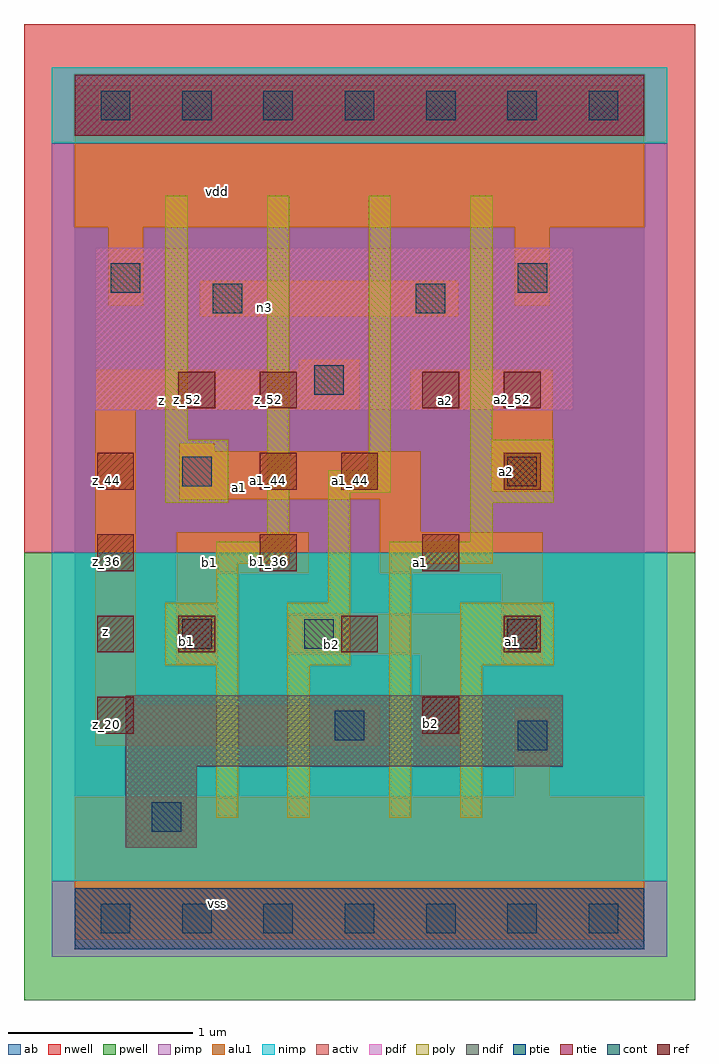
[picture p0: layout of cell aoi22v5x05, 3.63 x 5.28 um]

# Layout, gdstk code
import gdstk
lib = gdstk.Library(unit=1e-6, precision=2.5e-09)
def R(c, l, rs):  # rectangles x0, y0, x1, y1
    for r in rs: c.add(gdstk.rectangle(r[:2], r[2:], *l))
def A(c, l, x, y, w, h, nx, ny, dx, dy):  # array of equal rectangles
    R(c, l, [(x+i*dx, y+j*dy, x+i*dx+w, y+j*dy+h) for i in range(nx) for j in range(ny)])
ndif = (3, 0)
pdif = (4, 0)
ntie = (5, 0)
ptie = (6, 0)
ref = (24, 0)
cont = (25, 0)
pwell = (41, 0)
nwell = (42, 0)
activ = (43, 0)
pimp = (44, 0)
nimp = (45, 0)
poly = (46, 0)
alu1 = (49, 0)
ab = (63, 0)

aoi22v5x05 = lib.new_cell('aoi22v5x05')
R(aoi22v5x05, ndif, [(0.275,0.385,0.66,0.825), (0.275,0.825,2.64,1.21)])
R(aoi22v5x05, pdif, [(0.11,2.75,2.695,3.63)])
R(aoi22v5x05, ntie, [(0,4.235,3.08,4.565)])
R(aoi22v5x05, ptie, [(0,-0.165,3.08,0.165)])
A(aoi22v5x05, ref, 0.56, 1.44, 0.2, 0.2, 3, 1, 0.88, 0)
A(aoi22v5x05, ref, 0.12, 1.88, 0.2, 0.2, 3, 1, 0.88, 0)
R(aoi22v5x05, ref, [(0.12,1,0.32,1.2), (1.88,1,2.08,1.2), (0.12,1.44,0.32,1.64), (0.12,2.32,0.32,2.52), (1,2.32,1.2,2.52), (1.44,2.32,1.64,2.52), (2.32,2.32,2.52,2.52), (0.56,2.76,0.76,2.96), (1,2.76,1.2,2.96), (1.88,2.76,2.08,2.96), (2.32,2.76,2.52,2.96)])
A(aoi22v5x05, cont, 0.14, -0.08, 0.16, 0.16, 7, 2, 0.44, 4.4)
R(aoi22v5x05, cont, [(0.415,0.47,0.575,0.63), (2.395,0.91,2.555,1.07), (1.405,0.965,1.565,1.125), (0.58,1.46,0.74,1.62), (1.24,1.46,1.4,1.62), (2.34,1.46,2.5,1.62), (0.58,2.34,0.74,2.5), (2.34,2.34,2.5,2.5), (1.295,2.835,1.455,2.995), (0.745,3.275,0.905,3.435), (1.845,3.275,2.005,3.435), (0.195,3.385,0.355,3.545), (2.395,3.385,2.555,3.545)])
R(aoi22v5x05, pwell, [(-0.275,-0.44,3.355,1.98)])
R(aoi22v5x05, nwell, [(-0.275,1.98,3.355,4.84)])
R(aoi22v5x05, activ, [(0,-0.165,3.08,0.165), (0.275,0.385,0.66,0.825), (0.275,0.825,2.64,1.21), (0.11,2.75,2.695,3.63), (0,4.235,3.08,4.565)])
R(aoi22v5x05, pimp, [(-0.125,-0.205,3.205,0.205), (-0.125,1.98,3.205,4.195)])
R(aoi22v5x05, nimp, [(-0.125,0.205,3.205,1.98), (-0.125,4.195,3.205,4.605)])
R(aoi22v5x05, poly, [(0.765,0.545,0.885,1.37), (1.15,0.545,1.27,1.37), (1.7,0.545,1.82,1.92), (2.085,0.545,2.205,1.37), (0.49,1.37,0.885,1.71), (1.15,1.37,1.49,1.71), (2.085,1.37,2.59,1.71), (0.765,1.71,0.885,1.92), (1.37,1.71,1.49,2.305), (0.765,1.92,1.16,2.04), (1.7,1.92,2.26,2.04), (1.04,2.04,1.16,3.91), (2.14,2.04,2.26,2.25), (0.49,2.25,0.83,2.59), (2.14,2.25,2.59,2.59), (1.37,2.305,1.71,2.425), (1.59,2.425,1.71,3.91), (0.49,2.59,0.61,3.91), (2.14,2.59,2.26,3.91)])
R(aoi22v5x05, alu1, [(0,-0.11,3.08,0.66), (2.38,0.66,2.57,1.14), (0.11,0.935,1.65,1.155), (1.87,0.935,2.09,1.43), (0.11,1.155,0.33,2.75), (0.55,1.375,0.77,1.87), (2.31,1.375,2.53,1.87), (1.155,1.43,2.09,1.65), (0.55,1.87,1.265,2.09), (1.65,1.87,2.53,2.09), (1.65,2.09,1.87,2.27), (0.565,2.27,1.87,2.53), (2.255,2.31,2.585,2.75), (0.565,2.53,0.755,2.57), (0.11,2.75,1.54,2.97), (1.815,2.75,2.585,2.97), (1.21,2.97,1.54,3.025), (0.675,3.26,2.075,3.45), (0.18,3.315,0.37,3.74), (2.38,3.315,2.57,3.74), (0,3.74,3.08,4.51)])
R(aoi22v5x05, ab, [(0,0,3.08,4.4)])
aoi22v5x05.add(gdstk.Label('vss', (0.77,0.0825), layer=49, texttype=0))
aoi22v5x05.add(gdstk.Label('a1', (2.365,1.4975), layer=49, texttype=0))
aoi22v5x05.add(gdstk.Label('b2', (1.925,1.0575), layer=49, texttype=0))
aoi22v5x05.add(gdstk.Label('b2', (1.3875,1.485), layer=49, texttype=0))
aoi22v5x05.add(gdstk.Label('b1', (0.605,1.4975), layer=49, texttype=0))
aoi22v5x05.add(gdstk.Label('a1', (1.87,1.925), layer=49, texttype=0))
aoi22v5x05.add(gdstk.Label('b1', (0.7275,1.925), layer=49, texttype=0))
aoi22v5x05.add(gdstk.Label('a2', (2.3375,2.42), layer=49, texttype=0))
aoi22v5x05.add(gdstk.Label('a1', (0.89,2.335), layer=49, texttype=0))
aoi22v5x05.add(gdstk.Label('z', (0.165,1.5525), layer=49, texttype=0))
aoi22v5x05.add(gdstk.Label('a2', (2.0075,2.805), layer=49, texttype=0))
aoi22v5x05.add(gdstk.Label('z', (0.4675,2.805), layer=49, texttype=0))
aoi22v5x05.add(gdstk.Label('n3', (1.025,3.3075), layer=49, texttype=0))
aoi22v5x05.add(gdstk.Label('vdd', (0.77,3.9325), layer=49, texttype=0))
aoi22v5x05.add(gdstk.Label('b1_28', (0.61,1.49), layer=24, texttype=0))
aoi22v5x05.add(gdstk.Label('z_52', (0.61,2.81), layer=24, texttype=0))
aoi22v5x05.add(gdstk.Label('b1_36', (1.05,1.93), layer=24, texttype=0))
aoi22v5x05.add(gdstk.Label('a1_44', (1.05,2.37), layer=24, texttype=0))
aoi22v5x05.add(gdstk.Label('z_52', (1.05,2.81), layer=24, texttype=0))
aoi22v5x05.add(gdstk.Label('b2_28', (1.49,1.49), layer=24, texttype=0))
aoi22v5x05.add(gdstk.Label('a1_44', (1.49,2.37), layer=24, texttype=0))
aoi22v5x05.add(gdstk.Label('b2_20', (1.93,1.05), layer=24, texttype=0))
aoi22v5x05.add(gdstk.Label('a1_36', (1.93,1.93), layer=24, texttype=0))
aoi22v5x05.add(gdstk.Label('a2_52', (1.93,2.81), layer=24, texttype=0))
aoi22v5x05.add(gdstk.Label('z_20', (0.17,1.05), layer=24, texttype=0))
aoi22v5x05.add(gdstk.Label('z_28', (0.17,1.49), layer=24, texttype=0))
aoi22v5x05.add(gdstk.Label('z_36', (0.17,1.93), layer=24, texttype=0))
aoi22v5x05.add(gdstk.Label('z_44', (0.17,2.37), layer=24, texttype=0))
aoi22v5x05.add(gdstk.Label('a1_28', (2.37,1.49), layer=24, texttype=0))
aoi22v5x05.add(gdstk.Label('a2_44', (2.37,2.37), layer=24, texttype=0))
aoi22v5x05.add(gdstk.Label('a2_52', (2.37,2.81), layer=24, texttype=0))

lib.write_gds('aoi22v5x05.gds')
